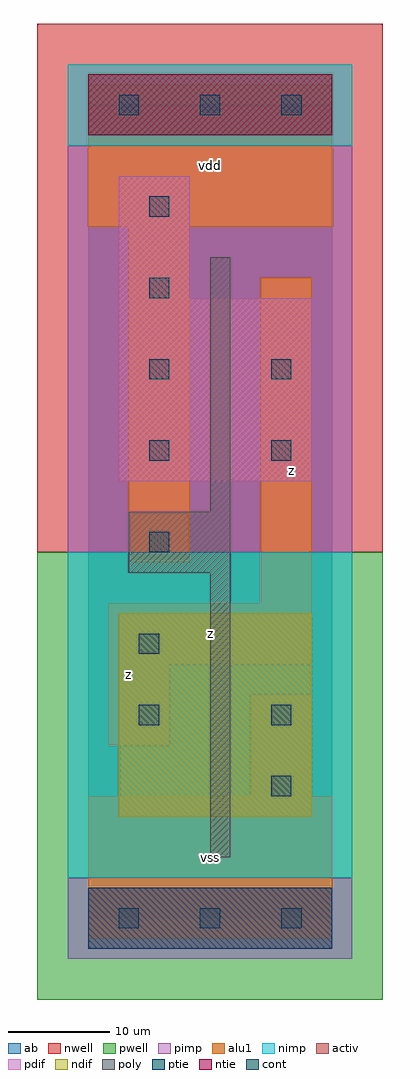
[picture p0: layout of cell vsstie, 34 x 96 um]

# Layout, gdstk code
import gdstk
lib = gdstk.Library(unit=1e-6, precision=1e-09)
def R(c, l, rs):  # rectangles x0, y0, x1, y1
    for r in rs: c.add(gdstk.rectangle(r[:2], r[2:], *l))
def A(c, l, x, y, w, h, nx, ny, dx, dy):  # array of equal rectangles
    R(c, l, [(x+i*dx, y+j*dy, x+i*dx+w, y+j*dy+h) for i in range(nx) for j in range(ny)])
ndif = (3, 0)
pdif = (4, 0)
ntie = (5, 0)
ptie = (6, 0)
cont = (25, 0)
pwell = (41, 0)
nwell = (42, 0)
activ = (43, 0)
pimp = (44, 0)
nimp = (45, 0)
poly = (46, 0)
alu1 = (49, 0)
ab = (63, 0)

vsstie = lib.new_cell('vsstie')
R(vsstie, ndif, [(3,10,22,30)])
R(vsstie, pdif, [(3,43,22,61), (3,61,10,73)])
R(vsstie, ntie, [(0,77,24,83)])
R(vsstie, ptie, [(0,-3,24,3)])
A(vsstie, cont, 3, -1, 2, 2, 3, 2, 8, 80)
A(vsstie, cont, 6, 45, 2, 2, 1, 4, 0, 8)
R(vsstie, cont, [(18,12,20,14), (5,19,7,21), (18,19,20,21), (5,26,7,28), (6,36,8,38), (18,45,20,47), (18,53,20,55)])
R(vsstie, pwell, [(-5,-8,29,36)])
R(vsstie, nwell, [(-5,36,29,88)])
R(vsstie, activ, [(0,-3,24,3), (3,10,22,30), (3,43,22,61), (3,61,10,73), (0,77,24,83)])
R(vsstie, pimp, [(-2,-4,26,4), (-2,36,26,76)])
R(vsstie, nimp, [(-2,4,26,36), (-2,76,26,84)])
R(vsstie, poly, [(12,6,14,34), (4,34,14,40), (12,40,14,65)])
R(vsstie, alu1, [(0,-2,24,12), (16,12,22,22), (2,17,8,25), (2,25,22,31), (17,31,22,63), (4,35,10,68), (0,68,24,82)])
R(vsstie, ab, [(0,0,24,80)])
vsstie.add(gdstk.Label('z', (4,24), layer=49, texttype=0))
vsstie.add(gdstk.Label('vss', (12,6), layer=49, texttype=0))
vsstie.add(gdstk.Label('z', (12,28), layer=49, texttype=0))
vsstie.add(gdstk.Label('vdd', (12,74), layer=49, texttype=0))
vsstie.add(gdstk.Label('z', (20,44), layer=49, texttype=0))

lib.write_gds('vsstie.gds')
